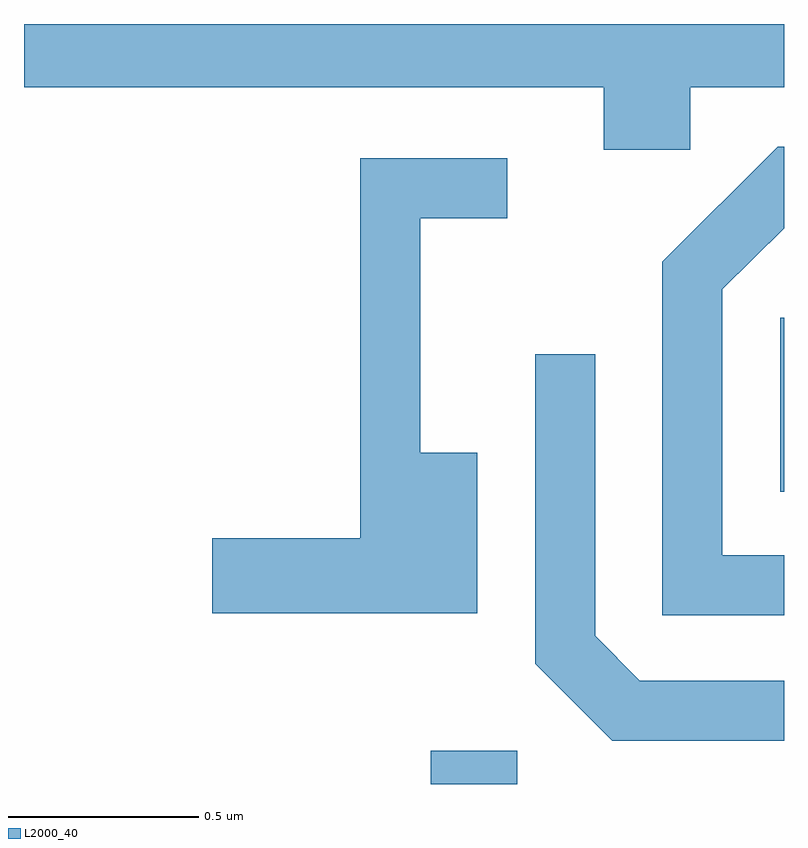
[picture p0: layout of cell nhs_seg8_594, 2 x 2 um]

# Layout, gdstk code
import gdstk
lib = gdstk.Library(unit=1e-6, precision=1e-09)
def R(c, l, rs):  # rectangles x0, y0, x1, y1
    for r in rs: c.add(gdstk.rectangle(r[:2], r[2:], *l))
def P(c, l, *ps):  # polygons
    for p in ps: c.add(gdstk.Polygon(p, *l))
L2000_40 = (2000, 40)

nhs_seg8_594 = lib.new_cell('nhs_seg8_594')
R(nhs_seg8_594, L2000_40, [(190.681,1852.342,190.909,1852.429), (191.601,1853.111,191.611,1853.569)])
P(nhs_seg8_594, L2000_40, [(191.364,1854.176),(191.611,1854.176),(191.611,1854.342),(189.611,1854.342),(189.611,1854.176),(191.136,1854.176),(191.136,1854.011),(191.364,1854.011)],
  [(191.611,1852.944),(191.449,1852.944),(191.449,1853.644),(191.611,1853.805),(191.611,1854.019),(191.594,1854.019),(191.291,1853.717),(191.291,1852.786),(191.611,1852.786)],
  [(190.804,1853.214),(190.654,1853.214),(190.654,1853.831),(190.883,1853.831),(190.883,1853.989),(190.496,1853.989),(190.496,1852.989),(190.106,1852.989),(190.106,1852.791),(190.804,1852.791)],
  [(191.611,1852.614),(191.232,1852.614),(191.114,1852.732),(191.114,1853.473),(190.956,1853.473),(190.956,1852.659),(191.159,1852.456),(191.611,1852.456)])

lib.write_gds('nhs_seg8_594.gds')
